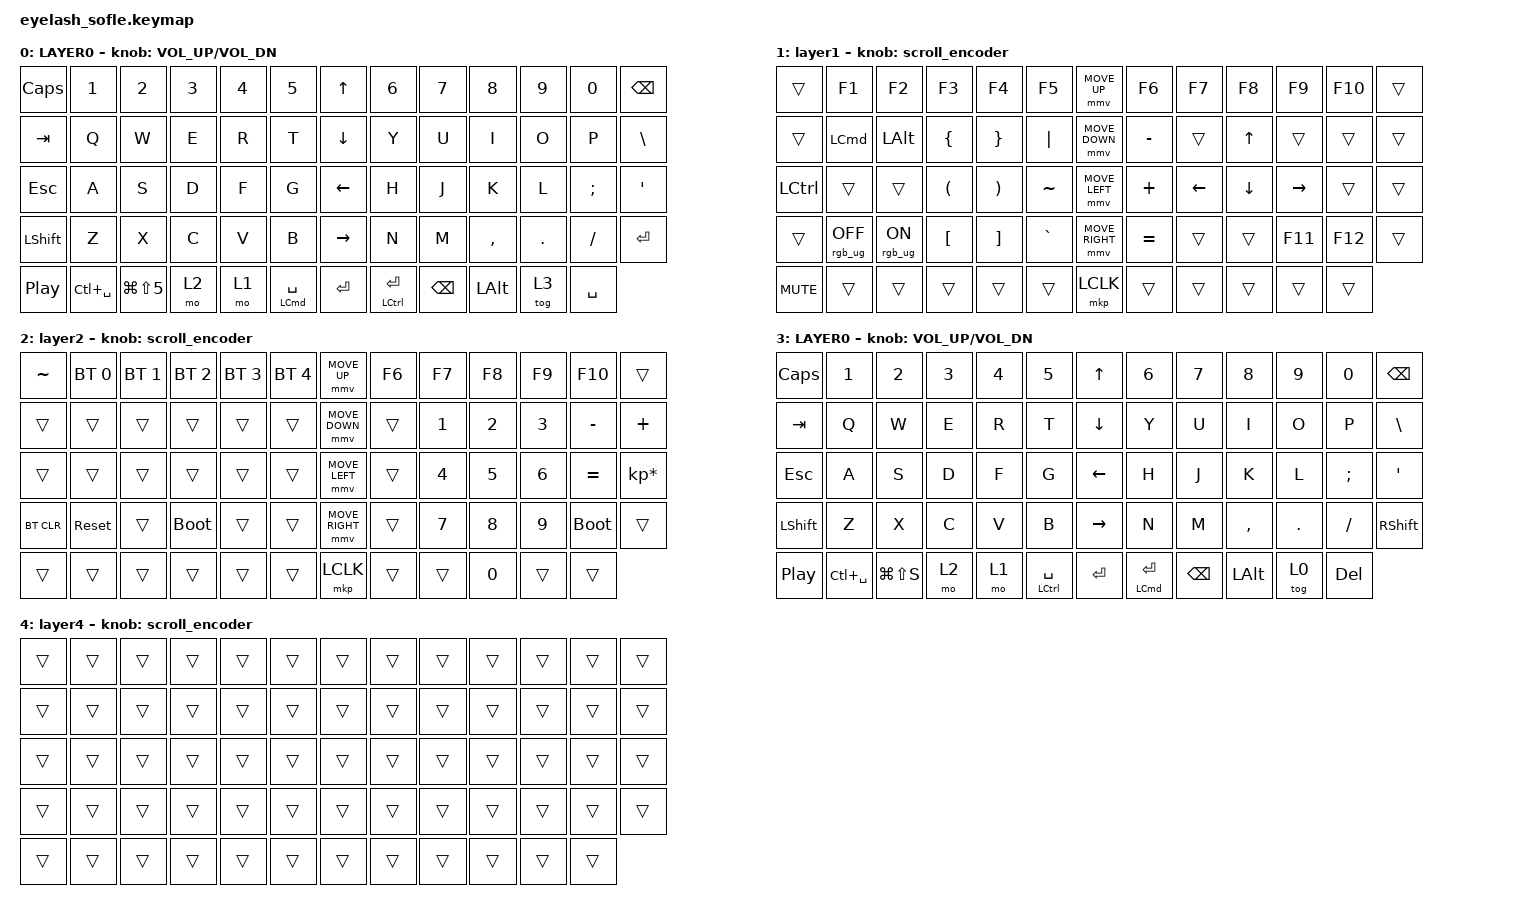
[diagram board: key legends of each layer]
#define ZMK_POINTING_DEFAULT_MOVE_VAL 1200  // 600
#define ZMK_POINTING_DEFAULT_SCRL_VAL 25   // 10

#include <input/processors.dtsi>
#include <zephyr/dt-bindings/input/input-event-codes.h>
#include <behaviors.dtsi>
#include <dt-bindings/zmk/bt.h>
#include <dt-bindings/zmk/keys.h>
#include <dt-bindings/zmk/pointing.h>
#include <dt-bindings/zmk/rgb.h>

&mmv_input_listener { input-processors = <&zip_xy_scaler 2 1>; };

&msc_input_listener { input-processors = <&zip_scroll_scaler 2 1>; };

&msc {
    acceleration-exponent = <1>;      // 0
    time-to-max-speed-ms = <100>;       // 300
    delay-ms = <0>;                   // 0
};

&mmv {
    time-to-max-speed-ms = <500>;
    acceleration-exponent = <1>;
    trigger-period-ms = <16>;
};

&soft_off { hold-time-ms = <2000>; };

&mt {
    tapping-term-ms = <250>;
    flavor = "tap-preferred";
};

/ {
    scroll_encoder: scroll_encoder {
        compatible = "zmk,behavior-sensor-rotate";
        #sensor-binding-cells = <0>;
        bindings = <&msc SCRL_DOWN>, <&msc SCRL_UP>;

        tap-ms = <100>;
    };

    behaviors {
    };

    combos {
        compatible = "zmk,combos";

        softoff {
            bindings = <&soft_off>;
            key-positions = <14 28 40>;
        };
    };

    macros {
        SHIFT_MCLK: SHIFT_MCLK {
            compatible = "zmk,behavior-macro";
            #binding-cells = <0>;
            bindings =
                <&macro_press>,
                <&kp LEFT_SHIFT>,
                <&macro_press>,
                <&mkp MB3>,
                <&macro_pause_for_release>,
                <&macro_release>,
                <&kp LEFT_SHIFT &mkp MB3>;

            label = "SHIFT_MCLK";
        };
    };

    keymap {
        compatible = "zmk,keymap";

        mac {
            bindings = <
&kp CAPSLOCK      &kp N1         &kp N2          &kp N3  &kp N4  &kp N5                    &kp UP_ARROW     &kp N6                  &kp N7         &kp N8        &kp N9   &kp N0     &kp BACKSPACE
&kp TAB           &kp Q          &kp W           &kp E   &kp R   &kp T                     &kp DOWN_ARROW   &kp Y                   &kp U          &kp I         &kp O    &kp P      &kp BSLH
&kp ESC           &kp A          &kp S           &kp D   &kp F   &kp G                     &kp LEFT_ARROW   &kp H                   &kp J          &kp K         &kp L    &kp SEMI   &kp APOS
&kp LSHFT         &kp Z          &kp X           &kp C   &kp V   &kp B                     &kp RIGHT_ARROW  &kp N                   &kp M          &kp COMMA     &kp DOT  &kp FSLH   &kp ENTER
&kp C_PLAY_PAUSE  &kp LC(SPACE)  &kp LG(LS(N5))  &mo 2   &mo 1   &mt LEFT_COMMAND SPACE    &kp ENTER        &mt LEFT_CONTROL ENTER  &kp BACKSPACE  &kp LEFT_ALT  &tog 3   &kp SPACE
            >;

            sensor-bindings = <&inc_dec_kp C_VOLUME_UP C_VOL_DN>;
            display-name = "LAYER0";
        };

        layer_1 {
            bindings = <
&trans            &kp F1            &kp F2          &kp F3                &kp F4                 &kp F5       &mmv MOVE_UP     &kp F6     &kp F7    &kp F8    &kp F9     &kp F10  &trans
&trans            &kp LEFT_COMMAND  &kp LEFT_ALT    &kp LEFT_BRACE        &kp RIGHT_BRACE        &kp PIPE     &mmv MOVE_DOWN   &kp MINUS  &trans    &kp UP    &trans     &trans   &trans
&kp LEFT_CONTROL  &trans            &trans          &kp LEFT_PARENTHESIS  &kp RIGHT_PARENTHESIS  &kp TILDE    &mmv MOVE_LEFT   &kp PLUS   &kp LEFT  &kp DOWN  &kp RIGHT  &trans   &trans
&trans            &rgb_ug RGB_OFF   &rgb_ug RGB_ON  &kp LEFT_BRACKET      &kp RIGHT_BRACKET      &kp GRAVE    &mmv MOVE_RIGHT  &kp EQUAL  &trans    &trans    &kp F11    &kp F12  &trans
&kp C_MUTE        &trans            &trans          &trans                &trans                 &trans       &mkp LCLK        &trans     &trans    &trans    &trans     &trans
            >;

            display-name = "layer1";
            sensor-bindings = <&scroll_encoder>;
        };

        layer_2 {
            bindings = <
&kp TILDE   &bt BT_SEL 0  &bt BT_SEL 1  &bt BT_SEL 2  &bt BT_SEL 3  &bt BT_SEL 4    &mmv MOVE_UP     &kp F6  &kp F7        &kp F8        &kp F9        &kp F10      &trans
&trans      &trans        &trans        &trans        &trans        &trans          &mmv MOVE_DOWN   &trans  &kp NUMBER_1  &kp NUMBER_2  &kp NUMBER_3  &kp MINUS    &kp PLUS
&trans      &trans        &trans        &trans        &trans        &trans          &mmv MOVE_LEFT   &trans  &kp NUMBER_4  &kp N5        &kp NUMBER_6  &kp EQUAL    &kp KP_MULTIPLY
&bt BT_CLR  &sys_reset    &trans        &bootloader   &trans        &trans          &mmv MOVE_RIGHT  &trans  &kp N7        &kp NUMBER_8  &kp N9        &bootloader  &trans
&trans      &trans        &trans        &trans        &trans        &trans          &mkp LCLK        &trans  &trans        &kp NUMBER_0  &trans        &trans
            >;

            display-name = "layer2";
            sensor-bindings = <&scroll_encoder>;
        };

        window {
            display-name = "LAYER0";
            bindings = <
&kp CAPSLOCK      &kp N1         &kp N2         &kp N3  &kp N4  &kp N5                    &kp UP_ARROW     &kp N6                  &kp N7         &kp N8        &kp N9   &kp N0      &kp BACKSPACE
&kp TAB           &kp Q          &kp W          &kp E   &kp R   &kp T                     &kp DOWN_ARROW   &kp Y                   &kp U          &kp I         &kp O    &kp P       &kp BSLH
&kp ESC           &kp A          &kp S          &kp D   &kp F   &kp G                     &kp LEFT_ARROW   &kp H                   &kp J          &kp K         &kp L    &kp SEMI    &kp APOS
&kp LSHFT         &kp Z          &kp X          &kp C   &kp V   &kp B                     &kp RIGHT_ARROW  &kp N                   &kp M          &kp COMMA     &kp DOT  &kp FSLH    &kp RIGHT_SHIFT
&kp C_PLAY_PAUSE  &kp LC(SPACE)  &kp LG(LS(S))  &mo 2   &mo 1   &mt LEFT_CONTROL SPACE    &kp ENTER        &mt LEFT_COMMAND ENTER  &kp BACKSPACE  &kp LEFT_ALT  &tog 0   &kp DELETE
            >;

            sensor-bindings = <&inc_dec_kp C_VOLUME_UP C_VOL_DN>;
        };

        layer_4 {
            bindings = <
&trans  &trans  &trans  &trans  &trans  &trans    &trans  &trans  &trans  &trans  &trans  &trans  &trans
&trans  &trans  &trans  &trans  &trans  &trans    &trans  &trans  &trans  &trans  &trans  &trans  &trans
&trans  &trans  &trans  &trans  &trans  &trans    &trans  &trans  &trans  &trans  &trans  &trans  &trans
&trans  &trans  &trans  &trans  &trans  &trans    &trans  &trans  &trans  &trans  &trans  &trans  &trans
&trans  &trans  &trans  &trans  &trans  &trans    &trans  &trans  &trans  &trans  &trans  &trans
            >;

            display-name = "layer4";
            sensor-bindings = <&scroll_encoder>;
        };
    };
};
